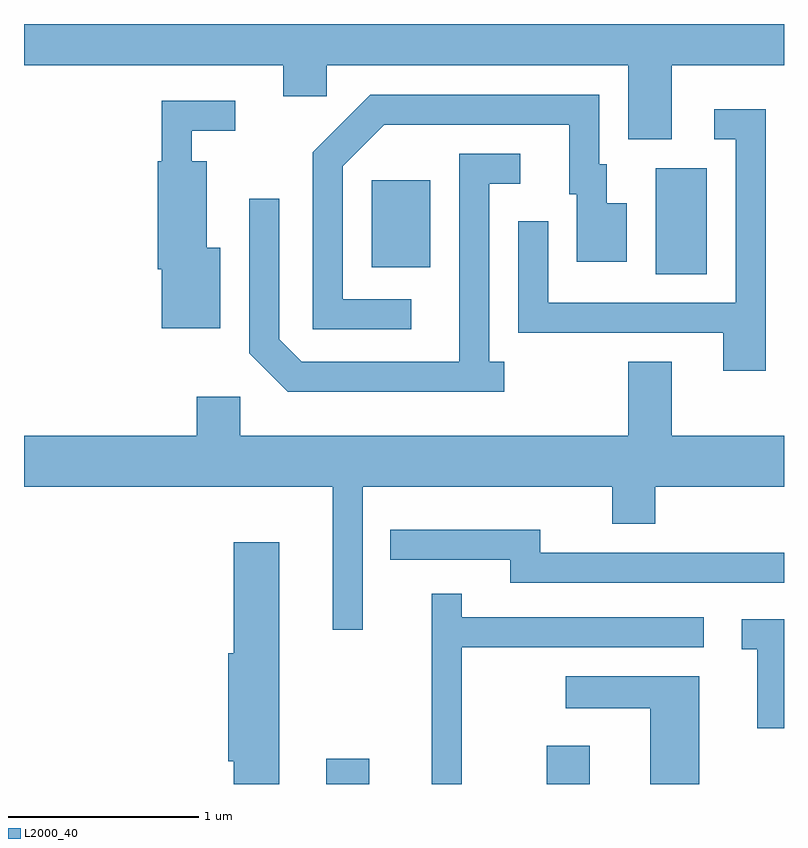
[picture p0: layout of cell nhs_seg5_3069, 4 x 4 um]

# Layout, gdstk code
import gdstk
lib = gdstk.Library(unit=1e-6, precision=1e-09)
def R(c, l, rs):  # rectangles x0, y0, x1, y1
    for r in rs: c.add(gdstk.rectangle(r[:2], r[2:], *l))
def P(c, l, *ps):  # polygons
    for p in ps: c.add(gdstk.Polygon(p, *l))
L2000_40 = (2000, 40)

nhs_seg5_3069 = lib.new_cell('nhs_seg5_3069')
R(nhs_seg5_3069, L2000_40, [(277.201,1504.072,277.429,1504.204), (278.361,1504.072,278.589,1504.274), (278.936,1506.756,279.204,1507.314), (277.441,1506.791,277.749,1507.249)])
P(nhs_seg5_3069, L2000_40, [(279.019,1507.856),(279.611,1507.856),(279.611,1508.072),(275.611,1508.072),(275.611,1507.856),(276.976,1507.856),(276.976,1507.691),(277.204,1507.691),(277.204,1507.856),(278.791,1507.856),(278.791,1507.466),(279.019,1507.466)],
  [(277.648,1506.624),(277.289,1506.624),(277.289,1507.324),(277.507,1507.541),(278.481,1507.541),(278.481,1507.176),(278.521,1507.176),(278.521,1506.821),(278.784,1506.821),(278.784,1507.129),(278.679,1507.129),(278.679,1507.334),(278.639,1507.334),(278.639,1507.699),(277.434,1507.699),(277.131,1507.397),(277.131,1506.466),(277.648,1506.466)],
  [(276.644,1506.894),(276.574,1506.894),(276.574,1507.349),(276.494,1507.349),(276.494,1507.511),(276.723,1507.511),(276.723,1507.669),(276.336,1507.669),(276.336,1507.349),(276.316,1507.349),(276.316,1506.781),(276.336,1506.781),(276.336,1506.471),(276.644,1506.471)],
  [(279.514,1507.624),(279.243,1507.624),(279.243,1507.466),(279.356,1507.466),(279.356,1506.604),(278.369,1506.604),(278.369,1507.033),(278.211,1507.033),(278.211,1506.446),(279.291,1506.446),(279.291,1506.246),(279.514,1506.246)],
  [(278.138,1506.294),(278.059,1506.294),(278.059,1507.231),(278.223,1507.231),(278.223,1507.389),(277.901,1507.389),(277.901,1506.294),(277.072,1506.294),(276.954,1506.412),(276.954,1507.153),(276.796,1507.153),(276.796,1506.339),(276.999,1506.136),(278.138,1506.136)],
  [(277.394,1505.636),(278.706,1505.636),(278.706,1505.441),(278.934,1505.441),(278.934,1505.636),(279.611,1505.636),(279.611,1505.904),(279.019,1505.904),(279.019,1506.294),(278.791,1506.294),(278.791,1505.904),(276.749,1505.904),(276.749,1506.109),(276.521,1506.109),(276.521,1505.904),(275.611,1505.904),(275.611,1505.636),(277.236,1505.636),(277.236,1504.883),(277.394,1504.883)],
  [(279.611,1505.289),(278.329,1505.289),(278.329,1505.409),(277.538,1505.409),(277.538,1505.251),(278.171,1505.251),(278.171,1505.131),(279.611,1505.131)],
  [(276.954,1505.344),(276.716,1505.344),(276.716,1504.759),(276.686,1504.759),(276.686,1504.191),(276.716,1504.191),(276.716,1504.072),(276.954,1504.072)],
  [(277.914,1504.791),(279.188,1504.791),(279.188,1504.949),(277.914,1504.949),(277.914,1505.073),(277.756,1505.073),(277.756,1504.072),(277.914,1504.072)],
  [(279.611,1504.939),(279.388,1504.939),(279.388,1504.781),(279.471,1504.781),(279.471,1504.366),(279.611,1504.366)],
  [(279.164,1504.639),(278.463,1504.639),(278.463,1504.471),(278.906,1504.471),(278.906,1504.072),(279.164,1504.072)])

lib.write_gds('nhs_seg5_3069.gds')
